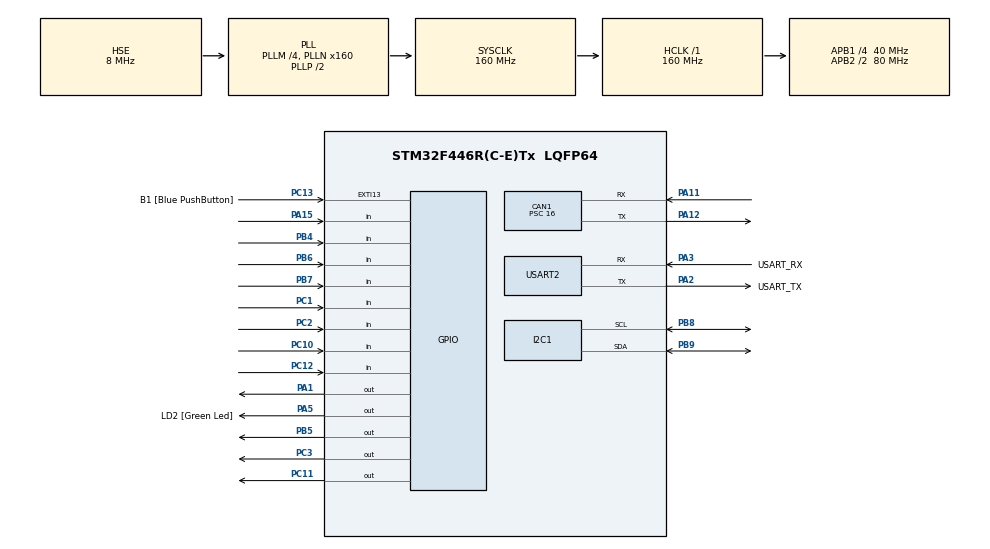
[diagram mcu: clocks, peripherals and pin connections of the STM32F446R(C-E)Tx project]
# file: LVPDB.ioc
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CAN1.BS1=CAN_BS1_3TQ
CAN1.BS2=CAN_BS2_1TQ
CAN1.CalculateBaudRate=500000
CAN1.CalculateTimeBit=2000
CAN1.CalculateTimeQuantum=400.0
CAN1.Mode=CAN_MODE_NORMAL
CAN1.Prescaler=16
Mcu.Family=STM32F4
Mcu.Name=STM32F446R(C-E)Tx
Mcu.Package=LQFP64
NVIC.CAN1_RX0_IRQn=true\:0\:0\:false\:false\:true\:true\:true\:true
NVIC.CAN1_RX1_IRQn=true\:0\:0\:false\:false\:true\:true\:true\:true
NVIC.PriorityGroup=NVIC_PRIORITYGROUP_0
PA1.GPIO_PuPd=GPIO_NOPULL
PA1.PinState=GPIO_PIN_RESET
PA1.Signal=GPIO_Output
PA11.Mode=CAN_Activate
PA11.Signal=CAN1_RX
PA12.Mode=CAN_Activate
PA12.Signal=CAN1_TX
PA13.GPIO_Label=TMS
PA13.Mode=Serial_Wire
PA13.Signal=SYS_JTMS-SWDIO
PA14.GPIO_Label=TCK
PA14.Mode=Serial_Wire
PA14.Signal=SYS_JTCK-SWCLK
PA15.Signal=GPIO_Input
PA2.GPIO_Label=USART_TX
PA2.Mode=Asynchronous
PA2.Signal=USART2_TX
PA3.GPIO_Label=USART_RX
PA3.Mode=Asynchronous
PA3.Signal=USART2_RX
PA5.GPIO_Label=LD2 [Green Led]
PA5.Signal=GPIO_Output
PB3.GPIO_Label=SWO
PB3.Signal=SYS_JTDO-SWO
PB4.Signal=GPIO_Input
PB5.Signal=GPIO_Output
PB6.Signal=GPIO_Input
PB7.Signal=GPIO_Input
PB8.Mode=I2C
PB8.Signal=I2C1_SCL
PB9.Mode=I2C
PB9.Signal=I2C1_SDA
PC1.Signal=GPIO_Input
PC10.Signal=GPIO_Input
PC11.Signal=GPIO_Output
PC12.Signal=GPIO_Input
PC13.GPIO_Label=B1 [Blue PushButton]
PC13.GPIO_ModeDefaultEXTI=GPIO_MODE_IT_FALLING
PC13.Signal=GPXTI13
PC14-OSC32_IN.Mode=LSE-External-Oscillator
PC14-OSC32_IN.Signal=RCC_OSC32_IN
PC15-OSC32_OUT.Mode=LSE-External-Oscillator
PC15-OSC32_OUT.Signal=RCC_OSC32_OUT
PC2.Signal=GPIO_Input
PC3.Signal=GPIO_Output
PH0-OSC_IN.Mode=HSE-External-Oscillator
PH0-OSC_IN.Signal=RCC_OSC_IN
PH1-OSC_OUT.Mode=HSE-External-Oscillator
PH1-OSC_OUT.Signal=RCC_OSC_OUT
ProjectManager.HeapSize=0x200
ProjectManager.StackSize=0x400
ProjectManager.TargetToolchain=STM32CubeIDE
RCC.48MHZClocksFreq_Value=84000000
RCC.AHBFreq_Value=160000000
RCC.APB1CLKDivider=RCC_HCLK_DIV4
RCC.APB1Freq_Value=40000000
RCC.APB1TimFreq_Value=80000000
RCC.APB2CLKDivider=RCC_HCLK_DIV2
RCC.APB2Freq_Value=80000000
RCC.APB2TimFreq_Value=160000000
RCC.CortexFreq_Value=160000000
RCC.FLatency-AdvancedSettings=FLASH_LATENCY_5
RCC.HCLKFreq_Value=160000000
RCC.HSE_VALUE=8000000
RCC.HSI_VALUE=16000000
RCC.PLLM=4
RCC.PLLN=160
RCC.PLLSourceVirtual=RCC_PLLSOURCE_HSE
RCC.SYSCLKFreq_VALUE=160000000
RCC.SYSCLKSource=RCC_SYSCLKSOURCE_PLLCLK
RCC.USBFreq_Value=160000000
RCC.VCOOutputFreq_Value=320000000
USART2.VirtualMode=VM_ASYNC
board=NUCLEO-F446RE

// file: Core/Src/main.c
/* USER CODE BEGIN Header */
/**
  ******************************************************************************
  * @file           : main.c
  * @brief          : Main program body
  ******************************************************************************
  * @attention
  *
  * Copyright (c) 2022 STMicroelectronics.
  * All rights reserved.
  *
  * This software is licensed under terms that can be found in the LICENSE file
  * in the root directory of this software component.
  * If no LICENSE file comes with this software, it is provided AS-IS.
  *
  ******************************************************************************
  */
/* USER CODE END Header */
#include "main.h"

/* USER CODE BEGIN Includes */
#include "FEB_CAN.h"
#include "stdio.h"
#include "stdbool.h"

/* USER CODE END Includes */

/* USER CODE BEGIN PM */
#define SLEEP_TIME 10
#define BRAKE_THRE 0.2

/* USER CODE END PM */

CAN_HandleTypeDef hcan1;

I2C_HandleTypeDef hi2c1;
I2C_HandleTypeDef* hi2c1p;

UART_HandleTypeDef huart2;

/* USER CODE BEGIN PV */

/*
 * The LVPDB has multiple TPS chips on the bus. These are the addresses of
 * each of the TPS chips. The naming conventions is as follows:
 * 		LV - Low voltage bus (the main one)
 * 		CP - Coolant pump
 * 		AF - Accumulator fans
 * 		EX - extra radiator fans
 */
const uint8_t LV_ADDR = 0b1000000 << 1;
const uint8_t CP_ADDR = 0b1000100 << 1;
const uint8_t AF_ADDR = 0b1000101 << 1;
const uint8_t EX_ADDR = 0b1000001 << 1;

// configuration register value
uint8_t CONFIG[2] = {0b01000001, 0b00100111}; // default settings

/*
 * Values needed to calibrate each of the TPS chips. This value gets passed
 * into the init function called in later
 */

// calibration register values
uint8_t MAIN_CAL[2] = {0b00000110, 0b10001110}; // Imax = 50A
uint8_t CP_CAL[2] = {0b00010111, 0b01101000};
uint8_t AF_CAL[2] = {0b00101000, 0b11110110};
uint8_t EX_CAL[2] = {0b00110110, 0b10011101};
uint8_t TEST_CAL_20A[2] = {0b00010000, 0b01100010}; // Imax = 20A
uint8_t TEST_CAL_15A[2] = {0b00010101, 0b11011000}; // Imax = 15A

// alert types
uint8_t UNDERV[2] = {0b00010000, 0b00000000}; // Under Bus Voltage
uint8_t OVERPWR[2] = {0b00001000, 0b00000000};

uint8_t OVERV[2] = {0b10000000, 0b00000000};

// limits
uint8_t LV_LIMIT[2] = {0b00000000, 0b00010110}; // = 22
uint8_t LV_NEW_LIMIT[2] = {0b01000100, 0b11000000}; // = 22 / 1.25mV/bit = 17600
uint8_t LV_RESET_LIMIT[2] = {0b00101110, 0b11100000}; // = 15 / 1.25mV/bit

uint8_t CP_LIMIT[2] = {0b00000001, 0b01010000}; // = 336, 14 * 24
uint8_t AF_LIMIT[2] = {0b00000000, 0b11000000}; // = 192, 8 * 24
uint8_t EX_LIMIT[2] = {0b00000000, 0b10010000}; // = 144, 6 * 24
uint8_t TEST_OVERPWR_LIMIT[2] = {0b00000001, 0b10000100}; // = ((23.73V / 1.25mV/bit) * ((12mA + 166mA) * .46mA/bit)) / 20000 = 388

static bool isDriving = false;

/* USER CODE END PV */

void SystemClock_Config(void);
static void MX_GPIO_Init(void);
static void MX_USART2_UART_Init(void);
static void MX_CAN1_Init(void);
static void MX_I2C1_Init(void);

int main(void)
{

  /* MCU Configuration--------------------------------------------------------*/

  /* Reset of all peripherals, Initializes the Flash interface and the Systick. */
  HAL_Init();

  /* Configure the system clock */
  SystemClock_Config();

  /* Initialize all configured peripherals */
  MX_GPIO_Init();
  MX_USART2_UART_Init();
  MX_CAN1_Init();
  MX_I2C1_Init();
  /* USER CODE BEGIN 2 */

	FEB_CAN_Init(&hcan1, LVPDB_ID);

	hi2c1p = &hi2c1;

	// uncomment if we need to pull ENs high to start
	HAL_GPIO_WritePin(GPIOC, GPIO_PIN_11, GPIO_PIN_SET);// pull PC11 high to enable coolant pump
//	HAL_GPIO_WritePin(GPIOB, GPIO_PIN_5, GPIO_PIN_SET);// pull PB5 high to enable accumulator fans
//	HAL_GPIO_WritePin(GPIOC, GPIO_PIN_3, GPIO_PIN_SET);// pull PC3 high to enable extra

	FEB_TPS2482_SETUP(hi2c1p, LV_ADDR, CONFIG, TEST_CAL_15A, UNDERV, LV_NEW_LIMIT);
	FEB_TPS2482_SETUP(hi2c1p, CP_ADDR, CONFIG, TEST_CAL_15A, OVERPWR, TEST_OVERPWR_LIMIT);
	FEB_TPS2482_SETUP(hi2c1p, AF_ADDR, CONFIG, TEST_CAL_15A, OVERPWR, AF_LIMIT);
	FEB_TPS2482_SETUP(hi2c1p, EX_ADDR, CONFIG, TEST_CAL_15A, OVERPWR, EX_LIMIT);

	char buf[128];
	int buf_len;
	float current_reading;
	float ex_current_reading;
	float cp_current_reading;
	float af_current_reading;
	float apps_current_reading;
	float shunt_voltage_reading;
	float bus_voltage_reading;
	float power_reading;

  /* USER CODE END 2 */

  /* Infinite loop */
  /* USER CODE BEGIN WHILE */
  while (1)
  {
	  // Brake Light
	  if (APPS_MESSAGE.brake_pedal > BRAKE_THRE) {
		  HAL_GPIO_WritePin(GPIOA, GPIO_PIN_1, GPIO_PIN_SET);// PA1 high
	  } else {
		  HAL_GPIO_WritePin(GPIOA, GPIO_PIN_1, GPIO_PIN_RESET);// PA1 low
	  }

	  // activate peripheral devices if ready to drive
	  if (SW_MESSAGE.ready_to_drive == 1 && !isDriving) {
		  isDriving = true;
		  HAL_GPIO_WritePin(GPIOC, GPIO_PIN_11, GPIO_PIN_SET);// pull PC11 high to enable coolant pump
		  HAL_GPIO_WritePin(GPIOB, GPIO_PIN_5, GPIO_PIN_SET);// pull PB5 high to enable accumulator fans
		  HAL_GPIO_WritePin(GPIOC, GPIO_PIN_3, GPIO_PIN_SET);// pull PC3 high to enable extra

	  // de-activate if not ready to drive
	  } else if (SW_MESSAGE.ready_to_drive == 0 && isDriving) {
		  isDriving = false;
		  HAL_GPIO_WritePin(GPIOC, GPIO_PIN_11, GPIO_PIN_RESET);
		  HAL_GPIO_WritePin(GPIOB, GPIO_PIN_5, GPIO_PIN_RESET);
		  HAL_GPIO_WritePin(GPIOC, GPIO_PIN_3, GPIO_PIN_RESET);
	  }

/***
	  // lv hotswap
	  // if receives undervoltage alert (PB7 pulled low) or PG low (PB6), pull all ENs for other hotswaps low and turn off brake light

	  if ((HAL_GPIO_ReadPin(GPIOB, GPIO_PIN_7) == GPIO_PIN_RESET) || (HAL_GPIO_ReadPin(GPIOB, GPIO_PIN_6) == GPIO_PIN_RESET)) {
		  // pull all ENs low
		  HAL_GPIO_WritePin(GPIOC, GPIO_PIN_11, GPIO_PIN_RESET);
		  HAL_GPIO_WritePin(GPIOB, GPIO_PIN_5, GPIO_PIN_RESET);
		  HAL_GPIO_WritePin(GPIOC, GPIO_PIN_3, GPIO_PIN_RESET);
		  //turn off brake light
		  HAL_GPIO_WritePin(GPIOA, GPIO_PIN_1, GPIO_PIN_RESET);
	  }
***/
	  // Test: If recieves overvoltage alert (PA15 pulled low), pull CP low
	  if (HAL_GPIO_ReadPin(GPIOA, GPIO_PIN_15) == GPIO_PIN_RESET) {
		  HAL_GPIO_WritePin(GPIOC, GPIO_PIN_11, GPIO_PIN_RESET);
	  }

/***
	  // coolant pump hotswap
	  FEB_TPS2482_shutdownIfError(hi2c1p, CP_ADDR, GPIOC, GPIO_PIN_11, GPIOA, GPIO_PIN_15, GPIOC, GPIO_PIN_10, 22.5, 25.5, 15, 10, 340, 300);

	  // accumulator fans hotswap
	  FEB_TPS2482_shutdownIfError(hi2c1p, AF_ADDR, GPIOB, GPIO_PIN_5, GPIOC, GPIO_PIN_12, GPIOB, GPIO_PIN_4, 22.5, 25.5, 9, 6, 200, 160);

	  // extra hotswap
	  FEB_TPS2482_shutdownIfError(hi2c1p, EX_ADDR, GPIOC, GPIO_PIN_3, GPIOC, GPIO_PIN_1, GPIOC, GPIO_PIN_2, 22.5, 25.5, 7, 4, 150, 120);
***/

	  /*
	   * Divides by 100 so can round to 2 decimal points (cant return full float value or do division inside pull function else integer overflow for some reason)
	   */
//	  current_reading = FEB_TPS2482_PollBusCurrent(hi2c1p,LV_ADDR)/100.0;
//	  ex_current_reading = FEB_TPS2482_PollBusCurrent(hi2c1p,EX_ADDR)/100.0;
	  cp_current_reading = FEB_TPS2482_PollBusCurrent(hi2c1p,CP_ADDR)/100.0;
//	  af_current_reading = FEB_TPS2482_PollBusCurrent(hi2c1p,AF_ADDR);

	  /***
	  FEB_CAN_Transmit(&hcan1, LVPDB_LV_CURRENT,&current_reading,sizeof(float));
	  FEB_CAN_Transmit(&hcan1, LVPDB_EX_CURRENT,&ex_current_reading,sizeof(float));
	  FEB_CAN_Transmit(&hcan1, LVPDB_CP_CURRENT,&cp_current_reading,sizeof(float));
	  apps_current_reading = APPS_MESSAGE.current;
	  ***/
	  shunt_voltage_reading = FEB_TPS2482_PollShuntVolt(hi2c1p, CP_ADDR)/100.0;
	  bus_voltage_reading = FEB_TPS2482_PollBusVolt(hi2c1p, CP_ADDR)/100.0;
	  power_reading = FEB_TPS2482_PollPower(hi2c1p, CP_ADDR)/100.0;

//	  buf_len = sprintf((char*)buf, "ready: %d, brake: %.3f\r\n", SW_MESSAGE.ready_to_drive, APPS_MESSAGE.brake_pedal);
//	  HAL_UART_Transmit(&huart2, (uint8_t *)buf, buf_len, HAL_MAX_DELAY);

	  //buf_len = sprintf((char*) buf, "Current Draw (LV, EX, CP, APPS): %.3f, %.3f, %.3f, %.3f\r\n", current_reading, ex_current_reading, cp_current_reading, apps_current_reading);
	  buf_len = sprintf((char*) buf, "TPS Draw: Power: %.3f, Shunt Voltage (uV): %.3f, Current(mA): %.3f\r\n", power_reading, shunt_voltage_reading, cp_current_reading);
	  HAL_UART_Transmit(&huart2, (uint8_t *)buf, buf_len, HAL_MAX_DELAY);
    /* USER CODE END WHILE */

    /* USER CODE BEGIN 3 */
	  HAL_Delay(SLEEP_TIME);
  }
  /* USER CODE END 3 */
}

void SystemClock_Config(void)
{
  RCC_OscInitTypeDef RCC_OscInitStruct = {0};
  RCC_ClkInitTypeDef RCC_ClkInitStruct = {0};

  /** Configure the main internal regulator output voltage
  */
  __HAL_RCC_PWR_CLK_ENABLE();
  __HAL_PWR_VOLTAGESCALING_CONFIG(PWR_REGULATOR_VOLTAGE_SCALE1);

  /** Initializes the RCC Oscillators according to the specified parameters
  * in the RCC_OscInitTypeDef structure.
  */
  RCC_OscInitStruct.OscillatorType = RCC_OSCILLATORTYPE_HSE;
  RCC_OscInitStruct.HSEState = RCC_HSE_ON;
  RCC_OscInitStruct.PLL.PLLState = RCC_PLL_ON;
  RCC_OscInitStruct.PLL.PLLSource = RCC_PLLSOURCE_HSE;
  RCC_OscInitStruct.PLL.PLLM = 4;
  RCC_OscInitStruct.PLL.PLLN = 160;
  RCC_OscInitStruct.PLL.PLLP = RCC_PLLP_DIV2;
  RCC_OscInitStruct.PLL.PLLQ = 2;
  RCC_OscInitStruct.PLL.PLLR = 2;
  if (HAL_RCC_OscConfig(&RCC_OscInitStruct) != HAL_OK)
  {
    Error_Handler();
  }

  /** Initializes the CPU, AHB and APB buses clocks
  */
  RCC_ClkInitStruct.ClockType = RCC_CLOCKTYPE_HCLK|RCC_CLOCKTYPE_SYSCLK
                              |RCC_CLOCKTYPE_PCLK1|RCC_CLOCKTYPE_PCLK2;
  RCC_ClkInitStruct.SYSCLKSource = RCC_SYSCLKSOURCE_PLLCLK;
  RCC_ClkInitStruct.AHBCLKDivider = RCC_SYSCLK_DIV1;
  RCC_ClkInitStruct.APB1CLKDivider = RCC_HCLK_DIV4;
  RCC_ClkInitStruct.APB2CLKDivider = RCC_HCLK_DIV2;

  if (HAL_RCC_ClockConfig(&RCC_ClkInitStruct, FLASH_LATENCY_5) != HAL_OK)
  {
    Error_Handler();
  }
}

static void MX_CAN1_Init(void)
{

  hcan1.Instance = CAN1;
  hcan1.Init.Prescaler = 16;
  hcan1.Init.Mode = CAN_MODE_NORMAL;
  hcan1.Init.SyncJumpWidth = CAN_SJW_1TQ;
  hcan1.Init.TimeSeg1 = CAN_BS1_3TQ;
  hcan1.Init.TimeSeg2 = CAN_BS2_1TQ;
  hcan1.Init.TimeTriggeredMode = DISABLE;
  hcan1.Init.AutoBusOff = DISABLE;
  hcan1.Init.AutoWakeUp = DISABLE;
  hcan1.Init.AutoRetransmission = DISABLE;
  hcan1.Init.ReceiveFifoLocked = DISABLE;
  hcan1.Init.TransmitFifoPriority = DISABLE;
  if (HAL_CAN_Init(&hcan1) != HAL_OK)
  {
    Error_Handler();
  }

}

static void MX_I2C1_Init(void)
{

  hi2c1.Instance = I2C1;
  hi2c1.Init.ClockSpeed = 100000;
  hi2c1.Init.DutyCycle = I2C_DUTYCYCLE_2;
  hi2c1.Init.OwnAddress1 = 0;
  hi2c1.Init.AddressingMode = I2C_ADDRESSINGMODE_7BIT;
  hi2c1.Init.DualAddressMode = I2C_DUALADDRESS_DISABLE;
  hi2c1.Init.OwnAddress2 = 0;
  hi2c1.Init.GeneralCallMode = I2C_GENERALCALL_DISABLE;
  hi2c1.Init.NoStretchMode = I2C_NOSTRETCH_DISABLE;
  if (HAL_I2C_Init(&hi2c1) != HAL_OK)
  {
    Error_Handler();
  }

}

static void MX_USART2_UART_Init(void)
{

  huart2.Instance = USART2;
  huart2.Init.BaudRate = 115200;
  huart2.Init.WordLength = UART_WORDLENGTH_8B;
  huart2.Init.StopBits = UART_STOPBITS_1;
  huart2.Init.Parity = UART_PARITY_NONE;
  huart2.Init.Mode = UART_MODE_TX_RX;
  huart2.Init.HwFlowCtl = UART_HWCONTROL_NONE;
  huart2.Init.OverSampling = UART_OVERSAMPLING_16;
  if (HAL_UART_Init(&huart2) != HAL_OK)
  {
    Error_Handler();
  }

}

static void MX_GPIO_Init(void)
{
  GPIO_InitTypeDef GPIO_InitStruct = {0};

  /* GPIO Ports Clock Enable */
  __HAL_RCC_GPIOC_CLK_ENABLE();
  __HAL_RCC_GPIOH_CLK_ENABLE();
  __HAL_RCC_GPIOA_CLK_ENABLE();
  __HAL_RCC_GPIOB_CLK_ENABLE();

  /*Configure GPIO pin Output Level */
  HAL_GPIO_WritePin(GPIOC, GPIO_PIN_3|GPIO_PIN_11, GPIO_PIN_RESET);

  /*Configure GPIO pin Output Level */
  HAL_GPIO_WritePin(GPIOA, GPIO_PIN_1|LD2_Pin, GPIO_PIN_RESET);

  /*Configure GPIO pin Output Level */
  HAL_GPIO_WritePin(GPIOB, GPIO_PIN_5, GPIO_PIN_RESET);

  /*Configure GPIO pin : B1_Pin */
  GPIO_InitStruct.Pin = B1_Pin;
  GPIO_InitStruct.Mode = GPIO_MODE_IT_FALLING;
  GPIO_InitStruct.Pull = GPIO_NOPULL;
  HAL_GPIO_Init(B1_GPIO_Port, &GPIO_InitStruct);

  /*Configure GPIO pins : PC1 PC2 PC10 PC12 */
  GPIO_InitStruct.Pin = GPIO_PIN_1|GPIO_PIN_2|GPIO_PIN_10|GPIO_PIN_12;
  GPIO_InitStruct.Mode = GPIO_MODE_INPUT;
  GPIO_InitStruct.Pull = GPIO_NOPULL;
  HAL_GPIO_Init(GPIOC, &GPIO_InitStruct);

  /*Configure GPIO pins : PC3 PC11 */
  GPIO_InitStruct.Pin = GPIO_PIN_3|GPIO_PIN_11;
  GPIO_InitStruct.Mode = GPIO_MODE_OUTPUT_PP;
  GPIO_InitStruct.Pull = GPIO_NOPULL;
  GPIO_InitStruct.Speed = GPIO_SPEED_FREQ_LOW;
  HAL_GPIO_Init(GPIOC, &GPIO_InitStruct);

  /*Configure GPIO pins : PA1 LD2_Pin */
  GPIO_InitStruct.Pin = GPIO_PIN_1|LD2_Pin;
  GPIO_InitStruct.Mode = GPIO_MODE_OUTPUT_PP;
  GPIO_InitStruct.Pull = GPIO_NOPULL;
  GPIO_InitStruct.Speed = GPIO_SPEED_FREQ_LOW;
  HAL_GPIO_Init(GPIOA, &GPIO_InitStruct);

  /*Configure GPIO pin : PA15 */
  GPIO_InitStruct.Pin = GPIO_PIN_15;
  GPIO_InitStruct.Mode = GPIO_MODE_INPUT;
  GPIO_InitStruct.Pull = GPIO_NOPULL;
  HAL_GPIO_Init(GPIOA, &GPIO_InitStruct);

  /*Configure GPIO pins : PB4 PB6 PB7 */
  GPIO_InitStruct.Pin = GPIO_PIN_4|GPIO_PIN_6|GPIO_PIN_7;
  GPIO_InitStruct.Mode = GPIO_MODE_INPUT;
  GPIO_InitStruct.Pull = GPIO_NOPULL;
  HAL_GPIO_Init(GPIOB, &GPIO_InitStruct);

  /*Configure GPIO pin : PB5 */
  GPIO_InitStruct.Pin = GPIO_PIN_5;
  GPIO_InitStruct.Mode = GPIO_MODE_OUTPUT_PP;
  GPIO_InitStruct.Pull = GPIO_NOPULL;
  GPIO_InitStruct.Speed = GPIO_SPEED_FREQ_LOW;
  HAL_GPIO_Init(GPIOB, &GPIO_InitStruct);

}

void Error_Handler(void) {
  __disable_irq();
  while (1)
  {
  }
}
